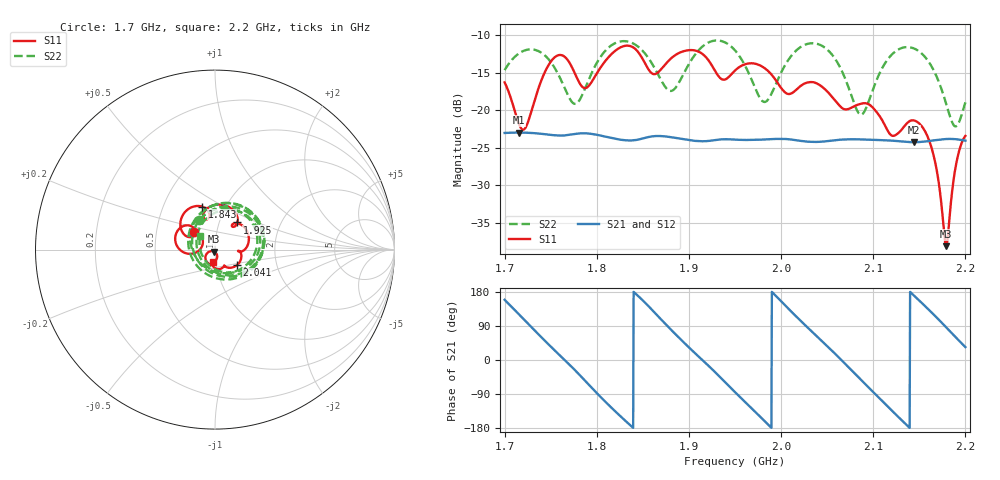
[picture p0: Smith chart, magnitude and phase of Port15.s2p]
# Hz S RI R 50
! CMT, CMT808U, 21440046, 21.4.3/4
! Date: 4/9/2026 1:52:30 AM
! Data: Format (Calibration Info)
! Freq	S11:Re/Im(F2)	S41:Re/Im(F2)	S14:Re/Im(F2)	S44:Re/Im(F2)
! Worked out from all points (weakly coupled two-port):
!   1001 points, 1.7 GHz to 2.2 GHz, reference 50 ohm
!   highest |S21| = -22.96 dB at 1.716 GHz (marker M1); lowest = -24.3 dB at 2.144 GHz (marker M2)
!   lowest |S11| = -38.1 dB at 2.179 GHz (marker M3), VSWR 1.03, Z = 49.4 - j1.1 ohm
!   |S11| at or under -10 dB: start of sweep to end of sweep
!   |S22| runs from -22.1 to -10.7 dB; largest |S21 - S12| = 0.001
!   S11 on the Smith chart (normalised r, x): 1.7 GHz: 0.77, +0.15; 1.843 GHz: 0.77, +0.40; 1.925 GHz: 1.22, +0.38; 2.041 GHz: 1.25, -0.22; 2.2 GHz: 0.97, -0.13
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1.7e9  -0.1192 0.0973  -0.0659 0.0255  -0.0659 0.0246  -0.0879 0.1636
1.716e9  -0.0673 0.0432  -0.0349 0.0619  -0.0355 0.0612  0.068 0.2313
1.756e9  -0.2219 0.0608  0.0633 0.0249  0.0627 0.0256  0.1543 -0.1011
1.7835e9  -0.1098 0.0952  0.0497 -0.0497  0.0502 -0.0488  -0.1238 -0.00937
1.814e9  -0.1922 0.1279  -0.0343 -0.0561  -0.0334 -0.0564  0.0627 0.2588
1.8435e9  -0.0732 0.24  -0.0629 0.00878  -0.0628 0.00795  0.2701 0.00554
1.867e9  -0.0577 0.171  -0.0277 0.0615  -0.0284 0.0609  0.0431 -0.1659
1.893e9  -0.00788 0.2468  0.0416 0.0491  0.0408 0.0495  -0.1452 0.0877
1.9255e9  0.1253 0.1516  0.057 -0.0267  0.0573 -0.0258  0.1876 0.2216
1.95e9  0.1112 0.1471  0.00579 -0.0635  0.00668 -0.0633  0.2462 -0.0515
1.9695e9  0.1787 0.1025  -0.0417 -0.0479  -0.0409 -0.0484  0.0352 -0.1483
1.991e9  0.1693 0.0038  -0.0643 0.00297  -0.0641 0.00204  -0.1275 0.0438
2.0335e9  0.1401 -0.0651  0.0159 0.0595  0.015 0.0596  0.2365 0.1512
2.0405e9  0.1209 -0.0876  0.0317 0.0528  0.0309 0.0532  0.2655 0.0772
2.0655e9  0.0525 -0.0903  0.0638 -0.000256  0.0637 0.000631  0.1234 -0.1387
2.0865e9  0.0377 -0.104  0.0395 -0.0503  0.0402 -0.0497  -0.0821 -0.045
2.117e9  -0.0139 -0.0696  -0.0368 -0.0511  -0.036 -0.0516  0.0461 0.2195
2.1445e9  -0.0352 -0.0779  -0.0602 0.0113  -0.0604 0.0104  0.251 0.0618
2.1645e9  -0.047 -0.0242  -0.0339 0.053  -0.0346 0.0524  0.1547 -0.1115
2.179e9  -0.00554 -0.0111  0.00368 0.0643  0.00272 0.0643  0.00533 -0.1112
2.1895e9  0.0125 -0.0404  0.0321 0.0556  0.0312 0.0561  -0.0714 -0.0316
2.2e9  -0.0108 -0.0667  0.052 0.0351  0.0515 0.0359  -0.0817 0.0783
